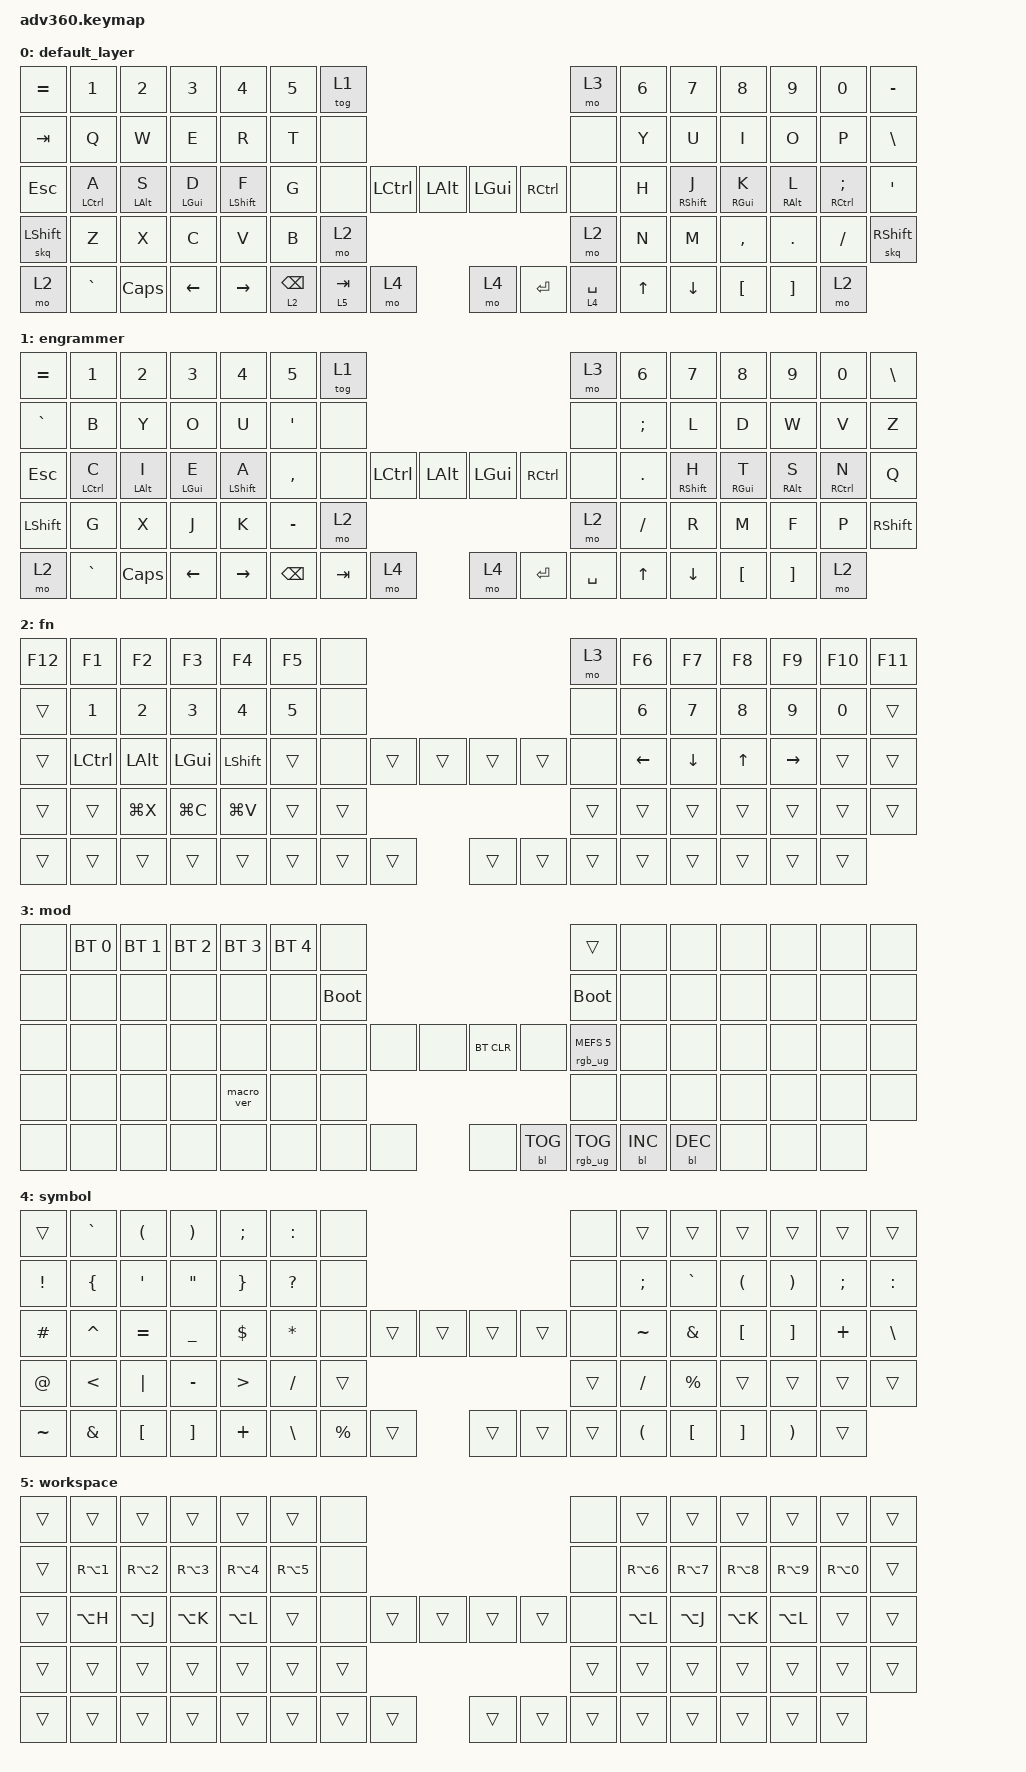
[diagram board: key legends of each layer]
#include <behaviors.dtsi>
#include <dt-bindings/zmk/keys.h>
#include <dt-bindings/zmk/bt.h>
#include <dt-bindings/zmk/rgb.h>
#include <dt-bindings/zmk/backlight.h>

/ {
    behaviors {
      #include "macros.dtsi"
      #include "version.dtsi"
      #ifndef VERSION_MACRO
      macro_ver: macro_ver {
        compatible = "zmk,behavior-macro";
        label = "macro_version";
        #binding-cells = <0>;
        bindings = <&kp RET>;
      };
      #endif

      skq: sticky_key_quick_release {
          compatible = "zmk,behavior-sticky-key";
          #binding-cells = <1>;
          bindings = <&kp>;
          release-after-ms = <1000>;
          quick-release;
          ignore-modifiers;
      };

      tm: thumb_mods {
          compatible = "zmk,behavior-hold-tap";
          flavor = "balanced";
          tapping-term-ms = <175>;
          quick-tap-ms = <200>; // enable repeat
          require-prior-idle-ms = <0>;
          #binding-cells = <2>;
          bindings = <&mo>, <&kp>;
      };

      #define LEFT_HAND_KEYS 0 1 2 3 4 5 6 14 15 16 17 18 19 20 28 29 30 31 32 33 34 46 47 48 49 50 51 60 61 62 63 64
      #define RIGHT_HAND_KEYS 7 8 9 10 11 12 13 21 22 23 24 25 26 27 39 40 41 42 43 44 45 54 55 56 57 58 59 71 72 73 74 75
      #define THUMB_KEYS 35 36 52 65 66 67 37 38 53 68 69 70

      #define LEFT_HAND_HRM_OVERRIDES
      #define RIGHT_HAND_HRM_OVERRIDES

      #define QUICK_TAP_MS 200
      #define TAPPING_TERM_MS 300
      #define PRIOR_IDLE_MS 175

      hm_l: homerow_mods_left {
          compatible = "zmk,behavior-hold-tap";
          label = "HOMEROW_MODS_LEFT";
          flavor = "balanced";
          hold-trigger-key-positions = <RIGHT_HAND_KEYS LEFT_HAND_HRM_OVERRIDES THUMB_KEYS>;
          hold-trigger-on-release;
          tapping-term-ms = <TAPPING_TERM_MS>;
          quick_tap_ms = <QUICK_TAP_MS>;
          require-prior-idle-ms = <PRIOR_IDLE_MS>;
          #binding-cells = <2>;
          bindings = <&kp>, <&kp>;
      };

      hm_r: homerow_mods_right {
          compatible = "zmk,behavior-hold-tap";
          label = "HOMEROW_MODS_RIGHT";
          flavor = "balanced";
          hold-trigger-key-positions = <LEFT_HAND_KEYS RIGHT_HAND_HRM_OVERRIDES THUMB_KEYS>;
          hold-trigger-on-release;
          tapping-term-ms = <TAPPING_TERM_MS>;
          quick_tap_ms = <QUICK_TAP_MS>;
          require-prior-idle-ms = <PRIOR_IDLE_MS>;
          #binding-cells = <2>;
          bindings = <&kp>, <&kp>;
      };
    };

  keymap {
    compatible = "zmk,keymap";

    default_layer {
      bindings = <
        &kp EQUAL  &kp N1        &kp N2       &kp N3       &kp N4        &kp N5 &tog 1                                                                       &mo 3 &kp N6 &kp N7        &kp N8       &kp N9       &kp N0           &kp MINUS
        &kp TAB    &kp Q         &kp W        &kp E        &kp R         &kp T  &none                                                                        &none &kp Y  &kp U         &kp I        &kp O        &kp P            &kp BSLH
        &kp ESC    &hm_l LCTRL A &hm_l LALT S &hm_l LGUI D &hm_l LSHFT F &kp G  &none          &kp LCTRL &kp LALT &kp LGUI  &kp RCTRL                        &none &kp H  &hm_r RSHFT J &hm_r RGUI K &hm_r RALT L &hm_r RCTRL SEMI &kp SQT
        &skq LSHFT &kp Z         &kp X        &kp C        &kp V         &kp B                         &mo 2 &mo 2                                                 &kp N  &kp M         &kp COMMA    &kp DOT      &kp FSLH         &skq RSHFT
        &mo 2      &kp GRAVE     &kp CAPS     &kp LEFT     &kp RIGHT                  &tm 2 BSPC &tm 5 TAB &mo 4 &mo 4 &kp ENTER &tm 4 SPACE              &kp UP        &kp DOWN     &kp LBKT     &kp RBKT         &mo 2
      >;
    };
    engrammer {
      bindings = <
        &kp EQUAL &kp N1      &kp N2     &kp N3     &kp N4      &kp N5    &tog 1                                                          &mo 3 &kp N6    &kp N7      &kp N8     &kp N9     &kp N0      &kp BSLH
        &kp GRAVE &kp B       &kp Y      &kp O      &kp U       &kp SQT   &none                                                           &none &kp SEMI  &kp L       &kp D      &kp W      &kp V       &kp Z
        &kp ESC   &hm_l LCTRL C &hm_l LALT I &hm_l LGUI E &hm_l LSHFT A &kp COMMA &none          &kp LCTRL &kp LALT &kp LGUI  &kp RCTRL           &none &kp DOT   &hm_r RSHFT H &hm_r RGUI T &hm_r RALT S &hm_r RCTRL N &kp Q
        &kp LSHFT &kp G       &kp X      &kp J      &kp K       &kp MINUS                          &mo 2    &mo 2                               &kp SLASH &kp R       &kp M      &kp F      &kp P       &kp RSHFT
        &mo 2     &kp GRAVE   &kp CAPS   &kp LEFT   &kp RIGHT                    &kp BSPC &kp TAB  &mo 4    &mo 4     &kp ENTER &kp SPACE                 &kp UP      &kp DOWN   &kp LBKT   &kp RBKT    &mo 2
      >;
    };
    fn {
      bindings = <
        &kp F12 &kp F1 &kp F2 &kp F3 &kp F4 &kp F5 &none                                            &mo 3 &kp F6   &kp F7   &kp F8 &kp F9    &kp F10 &kp F11
        &trans  &kp N1 &kp N2 &kp N3 &kp N4 &kp N5 &none                                            &none &kp N6   &kp N7   &kp N8 &kp N9    &kp N0  &trans
        &trans  &kp LCTRL &kp LALT &kp LGUI &kp LSHFT &trans &none         &trans &trans &trans &trans        &none &kp LEFT &kp DOWN &kp UP &kp RIGHT &trans  &trans
        &trans  &trans &kp LG(X) &kp LG(C) &kp LG(V) &trans                      &trans &trans                     &trans   &trans   &trans &trans    &trans  &trans
        &trans  &trans &trans &trans &trans               &trans &trans &trans &trans &trans &trans                &trans   &trans &trans    &trans  &trans
      >;
    };
    mod {
      bindings = <
        &none &bt BT_SEL 0 &bt BT_SEL 1 &bt BT_SEL 2 &bt BT_SEL 3 &bt BT_SEL 4 &none                                                                     &trans                 &none        &none        &none        &none &none &none
        &none &none        &none        &none        &none        &none        &bootloader                                                               &bootloader            &none        &none        &none        &none &none &none
        &none &none        &none        &none        &none        &none        &none                   &none &none &bt BT_CLR &none                      &rgb_ug RGB_MEFS_CMD 5 &none        &none        &none        &none &none &none
        &none &none        &none        &none        &macro_ver   &none                                      &none &none                                                        &none        &none        &none        &none &none &none
        &none &none        &none        &none        &none                                       &none &none &none &none      &bl BL_TOG &rgb_ug RGB_TOG                                     &bl BL_INC   &bl BL_DEC   &none &none &none
      >;
    };
    symbol {
      bindings = <
        &trans    &kp GRAVE &kp LPAR  &kp RPAR  &kp SEMI   &kp COLON &none                                                  &none &trans    &trans      &trans   &trans    &trans    &trans
        &kp EXCL  &kp LBRC  &kp SQT   &kp DQT   &kp RBRC   &kp QMARK &none                                                  &none &kp SEMI  &kp GRAVE   &kp LPAR &kp RPAR  &kp SEMI  &kp COLON
        &kp HASH  &kp CARET &kp EQUAL &kp UNDER &kp DOLLAR &kp STAR  &none               &trans &trans &trans &trans        &none &kp TILDE &kp AMPS    &kp LBKT &kp RBKT  &kp PLUS  &kp BSLH
        &kp AT    &kp LT    &kp PIPE  &kp MINUS &kp GT     &kp SLASH                            &trans &trans                     &kp SLASH &kp PERCENT &trans   &trans    &trans    &trans
        &kp TILDE &kp AMPS  &kp LBKT  &kp RBKT  &kp PLUS                   &kp BSLH &kp PERCENT &trans &trans &trans &trans                 &kp LPAR    &kp LBKT &kp RBKT  &kp RPAR  &trans
      >;
    };
    workspace {
      bindings = <
        &trans &trans &trans &trans &trans &trans &none                                            &none &trans   &trans   &trans &trans    &trans &trans
        &trans  &kp RA(N1) &kp RA(N2) &kp RA(N3) &kp RA(N4) &kp RA(N5) &none                                      &none    &kp RA(N6)   &kp RA(N7)   &kp RA(N8) &kp RA(N9)    &kp RA(N0)  &trans
        &trans  &kp LA(H) &kp LA(J) &kp LA(K) &kp LA(L) &trans &none         &trans &trans &trans &trans          &none    &kp LA(L) &kp LA(J) &kp LA(K) &kp LA(L) &trans  &trans
        &trans  &trans &trans &trans &trans &trans                      &trans &trans                     &trans  &trans   &trans &trans    &trans  &trans
        &trans  &trans &trans &trans &trans               &trans &trans &trans &trans &trans &trans               &trans   &trans &trans    &trans  &trans
      >;
    };
  };
};
